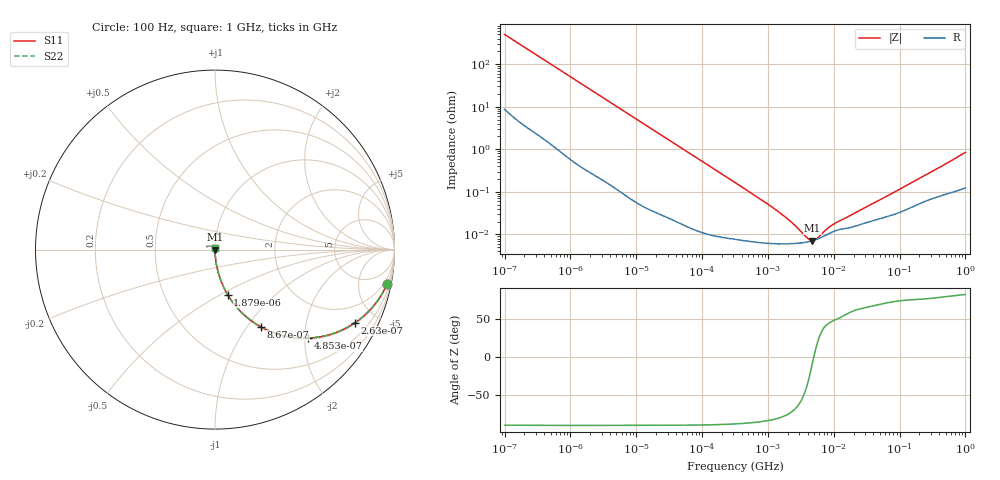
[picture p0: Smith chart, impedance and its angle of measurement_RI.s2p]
! Touchstone file generated by xDriver.py
# HZ RI RI R 50
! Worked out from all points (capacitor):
!   501 points, 100 Hz to 1 GHz, reference 50 ohm
!   read as one part in series: C = 3.19 uF near 106.7 Hz
!   lowest |Z| = 7.17 mohm at 4.742 MHz (marker M1)
!   series resonance near 4.978 MHz, so ESL is about 320 pH
!   S11 on the Smith chart (normalised r, x): 100 Hz: 1, -10; 263 Hz: 1.05, -3.81; 485.3 Hz: 1.03, -2.08; 867 Hz: 1.01, -1.17; 1.879 kHz: 1.01, -0.54; 1 GHz: 1.00, +0.02
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100  0.9582 -0.1916  0.0418 0.1916  0.0418 0.1916  0.9582 -0.1916
167.4943  0.8956 -0.2985  0.1044 0.2985  0.1044 0.2985  0.8956 -0.2985
263.0268  0.7811 -0.4066  0.2189 0.4066  0.2189 0.4066  0.7811 -0.4066
363.0781  0.6554 -0.4685  0.3446 0.4685  0.3446 0.4685  0.6554 -0.4685
485.2885  0.5189 -0.4931  0.4811 0.4931  0.4811 0.4931  0.5189 -0.4931
648.6344  0.3793 -0.479  0.6207 0.479  0.6207 0.479  0.3793 -0.479
866.9619  0.2569 -0.4311  0.7431 0.4311  0.7431 0.4311  0.2569 -0.4311
1499.685  0.1056 -0.3019  0.8944 0.3019  0.8944 0.3019  0.1056 -0.3019
1879.317  0.0707 -0.2508  0.9293 0.2508  0.9293 0.2508  0.0707 -0.2508
3047.895  0.029 -0.1623  0.971 0.1623  0.971 0.1623  0.029 -0.1623
5272.299  0.0104 -0.0961  0.9896 0.0961  0.9896 0.0961  0.0104 -0.0961
21777.1  0.000867 -0.0237  0.9991 0.0237  0.9991 0.0237  0.000867 -0.0237
316227.8  7.9e-05 -0.00166  0.9999 0.00166  0.9999 0.00166  7.9e-05 -0.00166
1485936  6e-05 -0.000326  0.9999 0.000326  0.9999 0.000326  6e-05 -0.000326
2259436  6.1e-05 -0.000187  0.9999 0.000187  0.9999 0.000187  6.1e-05 -0.000187
3435579  6.4e-05 -8.1e-05  0.9999 8.1e-05  0.9999 8.1e-05  6.4e-05 -8.1e-05
4742420  7.1e-05 -1e-05  0.9999 1e-05  0.9999 1e-05  7.1e-05 -1e-05
6546362  8.6e-05 5.6e-05  0.9999 -5.6e-05  0.9999 -5.6e-05  8.6e-05 5.6e-05
8472274  0.000105 0.000103  0.9999 -0.000103  0.9999 -0.000103  0.000105 0.000103
1.061696e7  0.000122 0.000139  0.9999 -0.000139  0.9999 -0.000139  0.000122 0.000139
6.886523e7  0.00027 0.000795  0.9997 -0.000795  0.9997 -0.000795  0.00027 0.000795
1e9  0.0013 0.00838  0.9987 -0.00838  0.9987 -0.00838  0.0013 0.00838
